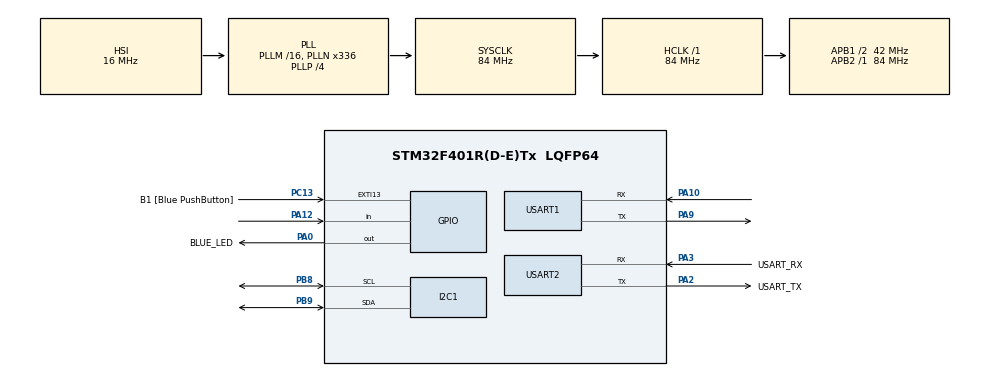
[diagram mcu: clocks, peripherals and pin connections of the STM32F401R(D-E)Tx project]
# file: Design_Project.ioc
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Mcu.Family=STM32F4
Mcu.Name=STM32F401R(D-E)Tx
Mcu.Package=LQFP64
NVIC.PriorityGroup=NVIC_PRIORITYGROUP_0
PA0-WKUP.GPIO_Label=BLUE_LED
PA0-WKUP.Signal=GPIO_Output
PA10.Mode=Asynchronous
PA10.Signal=USART1_RX
PA12.Signal=GPIO_Input
PA13.GPIO_Label=TMS
PA13.Mode=Trace_Asynchronous_SW
PA13.Signal=SYS_JTMS-SWDIO
PA14.GPIO_Label=TCK
PA14.Mode=Trace_Asynchronous_SW
PA14.Signal=SYS_JTCK-SWCLK
PA2.GPIO_Label=USART_TX
PA2.GPIO_Mode=GPIO_MODE_AF_PP
PA2.GPIO_PuPd=GPIO_NOPULL
PA2.GPIO_Speed=GPIO_SPEED_FREQ_LOW
PA2.Mode=Asynchronous
PA2.Signal=USART2_TX
PA3.GPIO_Label=USART_RX
PA3.GPIO_Mode=GPIO_MODE_AF_PP
PA3.GPIO_PuPd=GPIO_NOPULL
PA3.GPIO_Speed=GPIO_SPEED_FREQ_LOW
PA3.Mode=Asynchronous
PA3.Signal=USART2_RX
PA9.Mode=Asynchronous
PA9.Signal=USART1_TX
PB3.GPIO_Label=SWO
PB3.Mode=Trace_Asynchronous_SW
PB3.Signal=SYS_JTDO-SWO
PB8.Mode=I2C
PB8.Signal=I2C1_SCL
PB9.Mode=I2C
PB9.Signal=I2C1_SDA
PC13-ANTI_TAMP.GPIO_Label=B1 [Blue PushButton]
PC13-ANTI_TAMP.GPIO_ModeDefaultEXTI=GPIO_MODE_IT_FALLING
PC13-ANTI_TAMP.GPIO_PuPd=GPIO_NOPULL
PC13-ANTI_TAMP.Signal=GPXTI13
PC14-OSC32_IN.Mode=LSE-External-Oscillator
PC14-OSC32_IN.Signal=RCC_OSC32_IN
PC15-OSC32_OUT.Mode=LSE-External-Oscillator
PC15-OSC32_OUT.Signal=RCC_OSC32_OUT
PH0\ -\ OSC_IN.Mode=HSE-External-Clock-Source
PH0\ -\ OSC_IN.Signal=RCC_OSC_IN
PH1\ -\ OSC_OUT.Mode=HSE-External-Clock-Source
PH1\ -\ OSC_OUT.Signal=RCC_OSC_OUT
ProjectManager.HeapSize=0x200
ProjectManager.StackSize=0x400
ProjectManager.TargetToolchain=STM32CubeIDE
RCC.48MHZClocksFreq_Value=48000000
RCC.AHBFreq_Value=84000000
RCC.APB1CLKDivider=RCC_HCLK_DIV2
RCC.APB1Freq_Value=42000000
RCC.APB1TimFreq_Value=84000000
RCC.APB2Freq_Value=84000000
RCC.APB2TimFreq_Value=84000000
RCC.CortexFreq_Value=84000000
RCC.HCLKFreq_Value=84000000
RCC.HSE_VALUE=8000000
RCC.HSI_VALUE=16000000
RCC.PLLN=336
RCC.PLLP=RCC_PLLP_DIV4
RCC.PLLQ=7
RCC.SYSCLKFreq_VALUE=84000000
RCC.SYSCLKSource=RCC_SYSCLKSOURCE_PLLCLK
RCC.VCOOutputFreq_Value=336000000
TIM11.Period=65536-1
TIM11.Prescaler=84-1
USART1.VirtualMode=VM_ASYNC
USART2.VirtualMode=VM_ASYNC
VP_TIM11_VS_ClockSourceINT.Mode=Enable_Timer
board=NUCLEO-F401RE

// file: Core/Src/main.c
/* USER CODE BEGIN Header */
/**
  ******************************************************************************
  * @file           : main.c
  * @brief          : Main program body
  ******************************************************************************
  * @attention
  *
  * Copyright (c) 2024 STMicroelectronics.
  * All rights reserved.
  *
  * This software is licensed under terms that can be found in the LICENSE file
  * in the root directory of this software component.
  * If no LICENSE file comes with this software, it is provided AS-IS.
  *
  ******************************************************************************
  */
/* USER CODE END Header */
#include "main.h"
#include "i2c.h"
#include "tim.h"
#include "usart.h"
#include "gpio.h"

/* USER CODE BEGIN Includes */
#include <stdio.h>
#include "string.h"
#include "lsm9ds1_read_data_polling.h"
#include "math.h"
#include "stm32f4xx_hal.h"

/* USER CODE END Includes */

/* USER CODE BEGIN PTD */
#define Flash_Address_Start  0x08040000 // for flash storage

/* USER CODE END PTD */

/* USER CODE BEGIN PV */

  uint8_t count = 0;
  float accel[3];
  float gyro[3];
  float mag[3];

  float accel_x;
  float accel_y;
  float accel_z;

  float gyro_x;
  float gyro_y;
  float gyro_z;

  float mag_x;
  float mag_y;
  float mag_z;

  float svm;

  int data_num = 500;
  int feature_num = 11;
  int32_t write_data = 100;

  int row = 0;
  int col = 0;

  float time_stamp = 0;
  uint32_t time_elapsed;

  GPIO_PinState button_state;
  uint8_t fall_detected = 0;

/* USER CODE END PV */

void SystemClock_Config(void);

/* USER CODE BEGIN 0 */

// Printf
int _write(int file, char *ptr, int len) {
	for (int i = 0; i < len; i++) {
		ITM_SendChar(*ptr++);
	}
	return len;
}

void EraseFlash(void) {
	printf("erasing memory\n");

	FLASH_EraseInitTypeDef FlashEraseDefinition;

	uint32_t FlashEraseFault=0;
	HAL_FLASH_Unlock();
	printf("unlocked hal flash");

	FlashEraseDefinition.TypeErase = FLASH_TYPEERASE_SECTORS;
	FlashEraseDefinition.Banks = FLASH_BANK_1;
	FlashEraseDefinition.NbSectors = 1;
	FlashEraseDefinition.Sector = FLASH_SECTOR_6;
	FlashEraseDefinition.VoltageRange = FLASH_VOLTAGE_RANGE_3;

	HAL_StatusTypeDef eraseStatus = HAL_FLASHEx_Erase(&FlashEraseDefinition, &FlashEraseFault);
    if (eraseStatus != HAL_OK) {
        // Handle error (e.g., log or return error code)
    	printf("Erase did not work\n");
    }
	HAL_FLASH_Lock();
	printf("locked hal flash\n");
}

// writing float data
// Address: 4 bytes
void WriteData(int32_t Data, uint32_t Address) {

	HAL_StatusTypeDef status;

    if (Address % 4 != 0) {
    	printf("Address is not 4 bytes");
    	// Handle error: address not 4-byte aligned
        return;
    }

	HAL_FLASH_Unlock();
	status = HAL_FLASH_Program(FLASH_TYPEPROGRAM_WORD, (volatile)Address, Data);

	if (status != HAL_OK) {
	   printf("Write data did not work\n");
		// Handle error (e.g., log or return error code)
	}

	HAL_FLASH_Lock();
}

int32_t RetrieveData(uint32_t Address) {
	return *((int32_t*)Address);

//	float recoveredFloat = *((float*)&Data);
//	return recoveredFloat;
}

void write_data_loop() {

	printf("Starting to Erase Flash\n");
	EraseFlash();
	printf("Finished erasing sector 6 memory\n");

	HAL_TIM_Base_Start(&htim11);

	uint32_t current_address = Flash_Address_Start;

	for(int i = 0 ; i < 100 ;i++ )
	{

	  __HAL_TIM_SET_COUNTER(&htim11, 0);

	  lsm9ds1_read(accel,gyro,mag);
	  accel_x = accel[0];
	  accel_y = accel[1];
	  accel_z = accel[2];

	  gyro_x = gyro[0];
	  gyro_y = gyro[1];
	  gyro_z = gyro[2];

	  mag_x = mag[0];
	  mag_y = mag[1];
	  mag_z = mag[2];

	  svm = sqrt(pow(accel_x,2)+pow(accel_y,2)+pow(accel_z,2));

	  current_address+=4;
	  WriteData((int32_t)accel_x, current_address);
	  current_address+=4;
	  WriteData((int32_t)accel_y, current_address);
	  current_address+=4;
	  WriteData((int32_t)accel_z, current_address);
	  current_address+=4;

	  WriteData((int32_t)gyro_x, current_address);
	  current_address+=4;
	  WriteData((int32_t)gyro_y, current_address);
	  current_address+=4;
	  WriteData((int32_t)gyro_z, current_address);
	  current_address+=4;

	  WriteData((int32_t)mag_x, current_address);
	  current_address+=4;
	  WriteData((int32_t)mag_y, current_address);
	  current_address+=4;
	  WriteData((int32_t)mag_z, current_address);
	  current_address+=4;

	  WriteData((int32_t)svm, current_address);
//	  current_address+=4;

	  HAL_Delay(300);

	  time_elapsed = __HAL_TIM_GET_COUNTER(&htim11); // timer
	  time_stamp = time_stamp + (float)(time_elapsed/1000000.0); // divided by 1 million to get seconds

	  current_address -= 4*10;
	  WriteData((int32_t)svm, current_address);
	  current_address += 4*10;
	  current_address += 4;

	  printf("time stamp: %f, time_elapsed: %f\n", time_stamp, (float)time_elapsed);

	  }
}

// is it here??
void read_data_loop() {

	uint32_t current_address = Flash_Address_Start;

//	FILE *file = fopen("Sensor_Reading_Data.txt", "w");
//
//
//	// Check if the file was opened successfully
//	if (file == NULL) {
//	  printf("Error opening file.\n");
//	  return;  // Return an error code
//	}
//
//
//
//	fclose(file);
//	fprintf(file, "Time(s) acc_x(g) acc_y(g) acc_z(g) gyr_x(°/s) gyr_y(°/s) gyr_z(°/s) mag_x(G) mag_y(G) mag_z(G) SVM(g)\n");

	for (int m = 0; m < 100; m++) {
		for (int k = 0; k < 11; k++) {
			int32_t read_data = RetrieveData(current_address);
			float read_data_f = (float) (read_data);
			if (k == 10) {
				printf("%f\n", read_data_f); //123  for ending
			} else {
				printf("%f;", read_data_f); //123;
			}
		}
	}
//	fclose(file);
}

/* USER CODE END 0 */

int main(void)
{

  /* MCU Configuration--------------------------------------------------------*/

  /* Reset of all peripherals, Initializes the Flash interface and the Systick. */
  HAL_Init();

  /* Configure the system clock */
  SystemClock_Config();

  /* Initialize all configured peripherals */
  MX_GPIO_Init();
  MX_USART2_UART_Init();
  MX_I2C1_Init();
  MX_TIM11_Init();
  MX_USART1_UART_Init();
  /* USER CODE BEGIN 2 */
  lsm9ds1_read_data_polling_init();
  printf("finished init, going to data polling\n");

  uint8_t message;

  /* USER CODE END 2 */

  /* Infinite loop */
  /* USER CODE BEGIN WHILE */

  HAL_GPIO_WritePin(BLUE_LED_GPIO_Port, BLUE_LED_Pin, 1); // Turn alert status LED  ON
                       // 0.5-second delay
  printf("turning led on\n");

	  while(1) {
		  fall_detected = 1;

		  button_state = HAL_GPIO_ReadPin(GPIOC, GPIO_PIN_12); // Assuming button on PC13

		  lsm9ds1_read(accel,gyro,mag);
		  accel_x = accel[0];
		  accel_y = accel[1];
		  accel_z = accel[2];

		  gyro_x = gyro[0];
		  gyro_y = gyro[1];
		  gyro_z = gyro[2];

		  mag_x = mag[0];
		  mag_y = mag[1];
		  mag_z = mag[2];

//		  svm = sqrt(pow(accel_x,2)+pow(accel_y,2)+pow(accel_z,2));

		  if (gyro_y < -60 && accel_x < 0.88) { // falling
			  fall_detected = 0;

			                                   // 1-second delay

		  }

		  // Check conditions
		  if (fall_detected == 0|| button_state == GPIO_PIN_RESET) { // Active low button
			  printf("button pressed\n");
			  printf("USER HAS FALLEN");
			  HAL_GPIO_WritePin(BLUE_LED_GPIO_Port, BLUE_LED_Pin, 0); // Turn LED on
			  message = 1; // Send '1' if either condition is true
		  } else {
			  HAL_GPIO_WritePin(BLUE_LED_GPIO_Port, BLUE_LED_Pin, 1); // Turn LED off
			  message = 0; // Send '0' otherwise
		  }

		  // Transmit message to slave
		  HAL_UART_Transmit(&huart1, &message, 1, 100);

	//		/* Print IMU data to console */
	//		printf("IMU - Accel [g]: %.2f, %.2f, %.2f | ang [dps]: %.2f, %.2f, %.2f | mag: %.2f, %.2f, %.2f\n",
	//			 accel_x, accel_y, accel_z,
	//			 gyro_x, gyro_y, gyro_z,
	//			 mag_x,mag_y,mag_z
	//		);

    /* USER CODE END WHILE */

    /* USER CODE BEGIN 3 */
	  }

	//  write_data_loop();
	//  read_data_loop();
	  printf("done main loop");
  /* USER CODE END 3 */
}

void SystemClock_Config(void)
{
  RCC_OscInitTypeDef RCC_OscInitStruct = {0};
  RCC_ClkInitTypeDef RCC_ClkInitStruct = {0};

  /** Configure the main internal regulator output voltage
  */
  __HAL_RCC_PWR_CLK_ENABLE();
  __HAL_PWR_VOLTAGESCALING_CONFIG(PWR_REGULATOR_VOLTAGE_SCALE2);

  /** Initializes the RCC Oscillators according to the specified parameters
  * in the RCC_OscInitTypeDef structure.
  */
  RCC_OscInitStruct.OscillatorType = RCC_OSCILLATORTYPE_HSI;
  RCC_OscInitStruct.HSIState = RCC_HSI_ON;
  RCC_OscInitStruct.HSICalibrationValue = RCC_HSICALIBRATION_DEFAULT;
  RCC_OscInitStruct.PLL.PLLState = RCC_PLL_ON;
  RCC_OscInitStruct.PLL.PLLSource = RCC_PLLSOURCE_HSI;
  RCC_OscInitStruct.PLL.PLLM = 16;
  RCC_OscInitStruct.PLL.PLLN = 336;
  RCC_OscInitStruct.PLL.PLLP = RCC_PLLP_DIV4;
  RCC_OscInitStruct.PLL.PLLQ = 7;
  if (HAL_RCC_OscConfig(&RCC_OscInitStruct) != HAL_OK)
  {
    Error_Handler();
  }

  /** Initializes the CPU, AHB and APB buses clocks
  */
  RCC_ClkInitStruct.ClockType = RCC_CLOCKTYPE_HCLK|RCC_CLOCKTYPE_SYSCLK
                              |RCC_CLOCKTYPE_PCLK1|RCC_CLOCKTYPE_PCLK2;
  RCC_ClkInitStruct.SYSCLKSource = RCC_SYSCLKSOURCE_PLLCLK;
  RCC_ClkInitStruct.AHBCLKDivider = RCC_SYSCLK_DIV1;
  RCC_ClkInitStruct.APB1CLKDivider = RCC_HCLK_DIV2;
  RCC_ClkInitStruct.APB2CLKDivider = RCC_HCLK_DIV1;

  if (HAL_RCC_ClockConfig(&RCC_ClkInitStruct, FLASH_LATENCY_2) != HAL_OK)
  {
    Error_Handler();
  }
}

void Error_Handler(void)
{
  __disable_irq();
  while (1)
  {
  }
}
